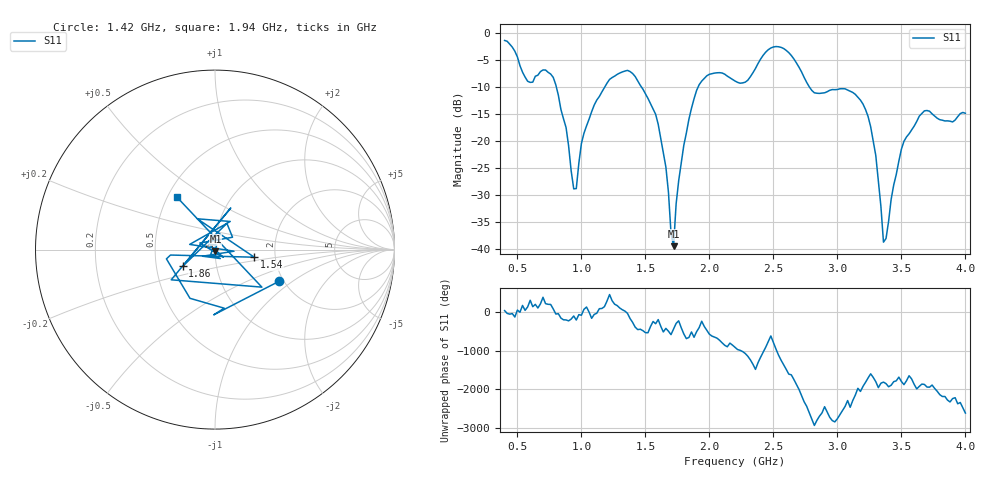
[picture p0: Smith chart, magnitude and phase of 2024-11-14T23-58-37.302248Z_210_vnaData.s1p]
!Created with skrf (http://scikit-rf.org).
# Hz S RI R 50.0
!freq ReS11 ImS11
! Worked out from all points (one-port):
!   181 points, 400 MHz to 4 GHz, reference 50 ohm
!   lowest |S11| = -39.4 dB at 1.72 GHz (marker M1), VSWR 1.02, Z = 50.3 - j1.04 ohm
!   |S11| at or under -10 dB: 804.9 MHz to 1.181 GHz (376.2 MHz wide, 37.9 % of centre); 1.471 GHz to 1.911 GHz (439.7 MHz wide, 26 % of centre); 2.783 GHz to end of sweep
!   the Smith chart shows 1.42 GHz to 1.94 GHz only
!   S11 on the Smith chart (normalised r, x): 1.42 GHz: 1.89, -0.79; 1.54 GHz: 1.55, -0.14; 1.86 GHz: 0.68, -0.13; 1.94 GHz: 0.56, +0.38
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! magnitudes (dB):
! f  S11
! 400 MHz  -1.3
! 580 MHz  -8.9
! 780 MHz  -8.2
! 860 MHz  -15.8
! 940 MHz  -28.8
! 960 MHz  -28.7
! 1 GHz  -20.4
! 1.08 GHz  -14.5
! 1.3 GHz  -7.3
! 1.42 GHz  -8.0
! 1.54 GHz  -13.0
! 1.66 GHz  -24.7
! 1.72 GHz  -39.4
! 1.76 GHz  -27.3
! 1.86 GHz  -13.9
! 1.94 GHz  -8.8
! 2.2 GHz  -8.8
! 2.5 GHz  -2.5
! 2.66 GHz  -4.7
! 2.82 GHz  -11.0
! 3.1 GHz  -10.7
! 3.26 GHz  -17.3
! 3.3 GHz  -22.6
! 3.36 GHz  -38.6
! 3.5 GHz  -21.4
! 3.56 GHz  -18.6
! 3.68 GHz  -14.3
! 4 GHz  -14.8
